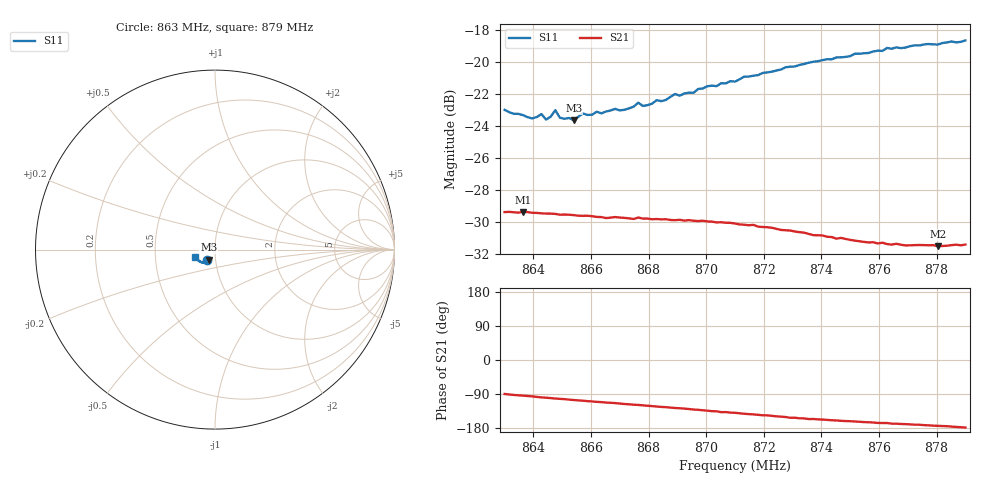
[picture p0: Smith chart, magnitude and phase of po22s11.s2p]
# HZ S RI R 50
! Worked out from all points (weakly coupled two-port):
!   101 points, 863 MHz to 879 MHz, reference 50 ohm
!   highest |S21| = -29.35 dB at 863.64 MHz (marker M1); lowest = -31.5 dB at 878.04 MHz (marker M2)
!   lowest |S11| = -23.6 dB at 865.4 MHz (marker M3), VSWR 1.14, Z = 46.4 - j5.22 ohm
!   |S11| at or under -10 dB: start of sweep to end of sweep
!   S12 and S22 are empty: the file has one direction only
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8.63e8  -0.0446 -0.0552  0.000245 -0.034  0 0  0 0
8.6364e8  -0.0415 -0.0543  -0.00242 -0.034  0 0  0 0
8.6396e8  -0.0388 -0.0543  -0.00356 -0.0337  0 0  0 0
8.6428e8  -0.039 -0.0567  -0.00513 -0.0333  0 0  0 0
8.6444e8  -0.038 -0.0541  -0.00551 -0.0332  0 0  0 0
8.6476e8  -0.0426 -0.0565  -0.0068 -0.0329  0 0  0 0
8.6492e8  -0.0371 -0.0559  -0.00722 -0.0326  0 0  0 0
8.654e8  -0.0346 -0.0561  -0.00896 -0.032  0 0  0 0
8.6572e8  -0.0354 -0.0595  -0.00987 -0.0316  0 0  0 0
8.6716e8  -0.0348 -0.0619  -0.0144 -0.0293  0 0  0 0
8.6764e8  -0.0372 -0.0648  -0.0156 -0.0287  0 0  0 0
8.678e8  -0.0364 -0.0633  -0.016 -0.0282  0 0  0 0
8.6844e8  -0.0373 -0.0657  -0.018 -0.0268  0 0  0 0
8.6892e8  -0.0397 -0.0689  -0.0192 -0.0257  0 0  0 0
8.6908e8  -0.0398 -0.0678  -0.0195 -0.0256  0 0  0 0
8.7004e8  -0.0441 -0.0716  -0.022 -0.023  0 0  0 0
8.71e8  -0.0481 -0.0725  -0.0238 -0.0204  0 0  0 0
8.7132e8  -0.0514 -0.0741  -0.0244 -0.0192  0 0  0 0
8.7372e8  -0.0681 -0.0737  -0.0263 -0.0119  0 0  0 0
8.7644e8  -0.0918 -0.0609  -0.0263 -0.00561  0 0  0 0
8.7804e8  -0.1024 -0.049  -0.0265 -0.00286  0 0  0 0
8.79e8  -0.1104 -0.0386  -0.0269 -0.00087  0 0  0 0
